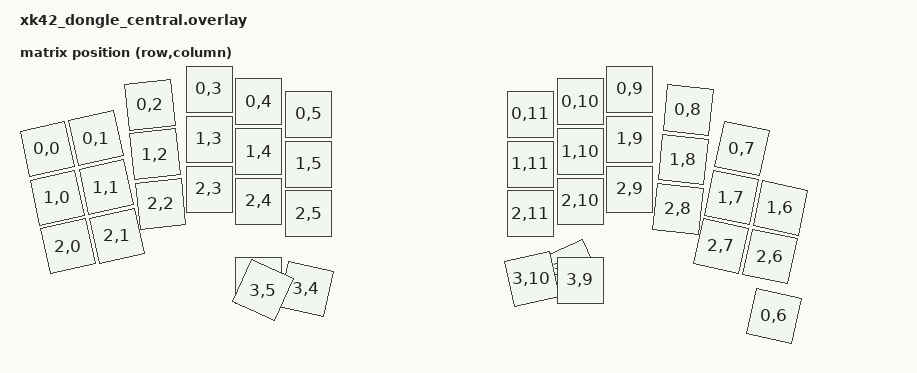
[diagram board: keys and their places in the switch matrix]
#include <physical_layouts.dtsi>
#include <dt-bindings/zmk/matrix_transform.h>

/ {
    chosen {
        zmk,kscan = &mock_kscan;
        zmk,physical-layout = &default_layout;
        zephyr,display = &oled;
    };

    mock_kscan: mock_kscan {
        compatible = "zmk,kscan-mock";
        rows = <0>;
        columns = <0>;
        events = <>;
    };

    default_transform: keymap_transform_0 {
        compatible = "zmk,matrix-transform";
        columns = <12>;
        rows = <4>;
        map = <
            RC(0,0)  RC(0,1)  RC(0,2)  RC(0,3)  RC(0,4)  RC(0,5)   RC(0,11) RC(0,10) RC(0,9)  RC(0,8)  RC(0,7)  RC(0,6)
            RC(1,0)  RC(1,1)  RC(1,2)  RC(1,3)  RC(1,4)  RC(1,5)   RC(1,11) RC(1,10) RC(1,9)  RC(1,8)  RC(1,7)  RC(1,6)
            RC(2,0)  RC(2,1)  RC(2,2)  RC(2,3)  RC(2,4)  RC(2,5)   RC(2,11) RC(2,10) RC(2,9)  RC(2,8)  RC(2,7)  RC(2,6)
                                       RC(3,3)  RC(3,4)  RC(3,5)   RC(3,11)  RC(3,10)  RC(3,9)
        >;
    };

    default_layout: keymap_layout_0 {
        compatible = "zmk,physical-layout";
        display-name = "Default";
        transform = <&default_transform>;

        keys =
            <&key_physical_attrs  100  100     0   131 (-1200)     0   131>
            , <&key_physical_attrs  100  100    97   110 (-1200)    97   110>
            , <&key_physical_attrs  100  100   210    37 (-600)   210    37>
            , <&key_physical_attrs  100  100   333     0      0     0     0>
            , <&key_physical_attrs  100  100   432    25      0     0     0>
            , <&key_physical_attrs  100  100   532    50      0     0     0>
            , <&key_physical_attrs  100  100   975    50      0     0     0>
            , <&key_physical_attrs  100  100  1075    25      0     0     0>
            , <&key_physical_attrs  100  100  1174     0      0     0     0>
            , <&key_physical_attrs  100  100  1297    37    600  1297    37>
            , <&key_physical_attrs  100  100  1410   110   1200  1410   110>
            , <&key_physical_attrs  100  100  1507   131   1200     0   131>
            , <&key_physical_attrs  100  100    20   229 (-1200)    20   229>
            , <&key_physical_attrs  100  100   118   208 (-1200)   118   208>
            , <&key_physical_attrs  100  100   220   136 (-600)   220   136>
            , <&key_physical_attrs  100  100   333   100      0     0     0>
            , <&key_physical_attrs  100  100   432   125      0     0     0>
            , <&key_physical_attrs  100  100   532   150      0     0     0>
            , <&key_physical_attrs  100  100   975   150      0     0     0>
            , <&key_physical_attrs  100  100  1075   125      0     0     0>
            , <&key_physical_attrs  100  100  1174   100      0     0     0>
            , <&key_physical_attrs  100  100  1287   136    600  1287   136>
            , <&key_physical_attrs  100  100  1389   208   1200  1389   208>
            , <&key_physical_attrs  100  100  1487   229   1200  1487   229>
            , <&key_physical_attrs  100  100    41   326 (-1200)    41   326>
            , <&key_physical_attrs  100  100   139   305 (-1200)   139   305>
            , <&key_physical_attrs  100  100   231   235 (-600)   231   235>
            , <&key_physical_attrs  100  100   333   200      0     0     0>
            , <&key_physical_attrs  100  100   432   224      0     0     0>
            , <&key_physical_attrs  100  100   532   249      0     0     0>
            , <&key_physical_attrs  100  100   975   249      0     0     0>
            , <&key_physical_attrs  100  100  1075   224      0     0     0>
            , <&key_physical_attrs  100  100  1174   200      0     0     0>
            , <&key_physical_attrs  100  100  1276   235    600  1276   235>
            , <&key_physical_attrs  100  100  1368   305   1200  1368   305>
            , <&key_physical_attrs  100  100  1466   326   1200  1466   326>
            , <&key_physical_attrs  100  100   432   382      0     0     0>
            , <&key_physical_attrs  100  100   538   391   1200   538   391>
            , <&key_physical_attrs  100  100   638   423   2400   638     0>
            , <&key_physical_attrs  100  100   869   423 (-2400)   869     0>
            , <&key_physical_attrs  100  100   969   391 (-1200)   969   391>
            , <&key_physical_attrs  100  100  1075   382      0     0     0>;
    };
};

&pinctrl {
    i2c0_default: i2c0_default {
        group1 {
            psels = <NRF_PSEL(TWIM_SDA, 0, 17)>,
                <NRF_PSEL(TWIM_SCL, 0, 20)>;
        };
    };

    i2c0_sleep: i2c0_sleep {
        group1 {
            psels = <NRF_PSEL(TWIM_SDA, 0, 17)>,
                <NRF_PSEL(TWIM_SCL, 0, 20)>;
            low-power-enable;
        };
    };
};

&i2c0 {
    status = "okay";
    compatible = "nordic,nrf-twi";
    pinctrl-0 = <&i2c0_default>;
    pinctrl-1 = <&i2c0_sleep>;
    oled: sh1106@3c {
        compatible = "sinowealth,sh1106";
        reg = <0x3c>;
        width = <129>;
        height = <64>;
        segment-offset = <2>;
        page-offset = <0>;
        display-offset = <0>;
        multiplex-ratio = <63>;
        segment-remap;
        com-invdir;
        inversion-on;
        prechargep = <0x22>;
    };
};
